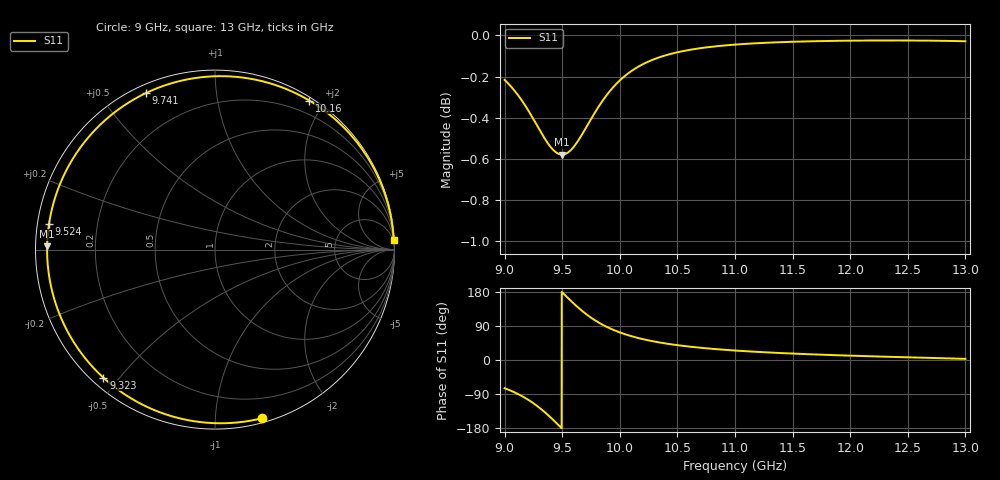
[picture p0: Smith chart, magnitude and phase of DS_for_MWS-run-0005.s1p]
! TOUCHSTONE file generated by CST DESIGN STUDIO
! Date and time: Tue Feb  4 15:49:50 2025
! Project name: C:\Work\MatlabApps\UnitCellOptimizationMatlab\CST\unitcell.cst
! Tree item: Tasks\Sweep1\SPara1\S-Parameters
! Header version: 2024
! Port assignment regex: !\s*Touchstone port\s*([0-9]+)\s*=\s*(CST MWS port|CST DES external port|CST DES block port)\s*(.+)\s* \(\"(.*)\"\)(\s*mode\s*([0-9]+))?.*
! Touchstone port assignment:
! Touchstone port 1 = CST DES external port 1 ("")
# GHz S MA R 50
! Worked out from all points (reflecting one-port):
!   4001 points, 9 GHz to 13 GHz, reference 50 ohm
!   lowest |S11| = -0.6 dB at 9.499 GHz (marker M1), VSWR 30.02, Z = 1.67 + j0.508 ohm
!   phase of S11 starts at -74 deg and turns -282 deg over the sweep
!   S11 on the Smith chart (normalised r, x): 9 GHz: 0.03, -1.32; 9.323 GHz: 0.03, -0.45; 9.524 GHz: 0.03, +0.08; 9.741 GHz: 0.03, +0.65; 10.16 GHz: 0.04, +1.82; 13 GHz: 2, +37
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9  0.9754 -74.5
9.085  0.9697 -85.2
9.186  0.9608 -101.4
9.257  0.9535 -115.6
9.323  0.9465 -131.1
9.37  0.9419 -143.4
9.419  0.9381 -157.2
9.46  0.9362 -169.4
9.499  0.9355 178.8
9.5  0.9355 178.5
9.524  0.9358 171.3
9.577  0.938 155.5
9.637  0.9427 138.8
9.688  0.9477 125.8
9.741  0.9533 113.7
9.794  0.9588 103.0
9.852  0.9643 92.8
9.925  0.9702 82.0
10  0.9752 72.8
10.164  0.9828 57.7
10.317  0.9873 47.8
10.5  0.9906 39.2
10.722  0.9931 31.7
11  0.9949 25.0
11.5  0.9965 16.9
12  0.9971 11.4
12.5  0.9972 7.1
13  0.9968 3.0
